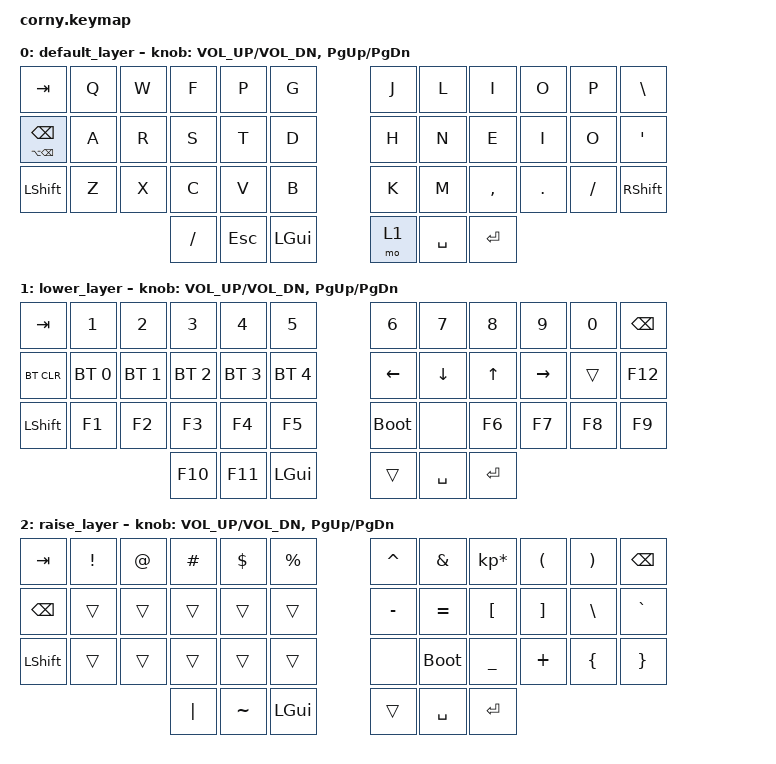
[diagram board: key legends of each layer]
#include <behaviors.dtsi>
#include <dt-bindings/zmk/bt.h>
#include <dt-bindings/zmk/keys.h>

/ {
    behaviors {
        backspace: backspace {
            compatible = "zmk,behavior-hold-tap";
            label = "BACKSPACE";
            bindings = <&kp>, <&kp>;

            #binding-cells = <2>;
            tapping-term-ms = <120>;
        };
    };

    keymap {
        compatible = "zmk,keymap";

        default_layer {
            // -------------------------------------------------------------------------------------------------
            // |  TAB |  Q  |  W  |  E  |  R  |  G  |                    |  Y  |  U   |  I  |  O  |  P  | BKSP |
            // | CTRL |  A  |  S  |  D  |  F  |  T  |                    |  H  |  J   |  K  |  L  |  ;  |  '   |
            // | SHFT |  Z  |  X  |  C  |  V  |  B  |  MUTE  |  |        |  N  |  M   |  ,  |  .  |  /  | ESC  |
            //                    | GUI | LWR | SPC |                    | ENT | RSE  | ALT |

            bindings = <
&kp TAB                             &kp Q  &kp W  &kp F     &kp P    &kp G       &kp J  &kp L      &kp I      &kp O       &kp P      &kp BACKSLASH
&backspace LA(BACKSPACE) BACKSPACE  &kp A  &kp R  &kp S     &kp T    &kp D       &kp H  &kp N      &kp E      &kp I       &kp O      &kp SQT
&kp LSHFT                           &kp Z  &kp X  &kp C     &kp V    &kp B       &kp K  &kp M      &kp COMMA  &kp PERIOD  &kp SLASH  &kp RIGHT_SHIFT
                                                  &kp FSLH  &kp ESC  &kp LGUI    &mo 1  &kp SPACE  &kp RET
            >;

            sensor-bindings = <&inc_dec_kp C_VOL_UP C_VOL_DN &inc_dec_kp PG_UP PG_DN>;
        };

        lower_layer {
            // ------------------------------------------------------------------------------------------------
            // |  TAB |  1  |  2  |  3  |  4  |  5  |                    |  6  |  7  |  8  |  9  |  0  | BKSP |
            // | BTCLR| BT1 | BT2 | BT3 | BT4 | BT5 |                    | LFT | DWN |  UP | RGT |     |  F12 |
            // | SHFT | F1  | F2  | F3  | F4  | F5  |  boot  |  |        |  F6 | F7  | F8  | F9  | F10 |  F11 |
            //                    | GUI |     | SPC |                    | ENT |     | ALT |

            bindings = <
&kp TAB     &kp N1        &kp N2        &kp N3        &kp N4        &kp N5          &kp N6       &kp N7     &kp N8   &kp N9     &kp N0  &kp BSPC
&bt BT_CLR  &bt BT_SEL 0  &bt BT_SEL 1  &bt BT_SEL 2  &bt BT_SEL 3  &bt BT_SEL 4    &kp LEFT     &kp DOWN   &kp UP   &kp RIGHT  &trans  &kp F12
&kp LSHFT   &kp F1        &kp F2        &kp F3        &kp F4        &kp F5          &bootloader  &none      &kp F6   &kp F7     &kp F8  &kp F9
                                        &kp F10       &kp F11       &kp LGUI        &trans       &kp SPACE  &kp RET
            >;

            sensor-bindings = <&inc_dec_kp C_VOL_UP C_VOL_DN &inc_dec_kp PG_UP PG_DN>;
        };

        raise_layer {
            // ------------------------------------------------------------------------------------------------
            // |  TAB |  !  |  @  |  #  |  $  |  %  |                    |  ^  |  &  |  *  |  (  |  )  | BKSP |
            // | CTRL |     |     |     |     |     |                    |  -  |  =  |  [  |  ]  |  \  |  `   |
            // | SHFT |     |     |     |     |     |        |  |  boot  |  _  |  +  |  {  |  }  | "|" |  ~   |
            //                    | GUI |     | SPC |                    | ENT |     | ALT |

            bindings = <
&kp TAB        &kp EXCL  &kp AT  &kp HASH  &kp DLLR   &kp PRCNT    &kp CARET  &kp AMPS     &kp KP_MULTIPLY  &kp LPAR  &kp RPAR  &kp BSPC
&kp BACKSPACE  &trans    &trans  &trans    &trans     &trans       &kp MINUS  &kp EQUAL    &kp LBKT         &kp RBKT  &kp BSLH  &kp GRAVE
&kp LSHFT      &trans    &trans  &trans    &trans     &trans       &none      &bootloader  &kp UNDER        &kp PLUS  &kp LBRC  &kp RBRC
                                 &kp PIPE  &kp TILDE  &kp LGUI     &trans     &kp SPACE    &kp RET
            >;

            sensor-bindings = <&inc_dec_kp C_VOL_UP C_VOL_DN &inc_dec_kp PG_UP PG_DN>;
        };
    };
};
